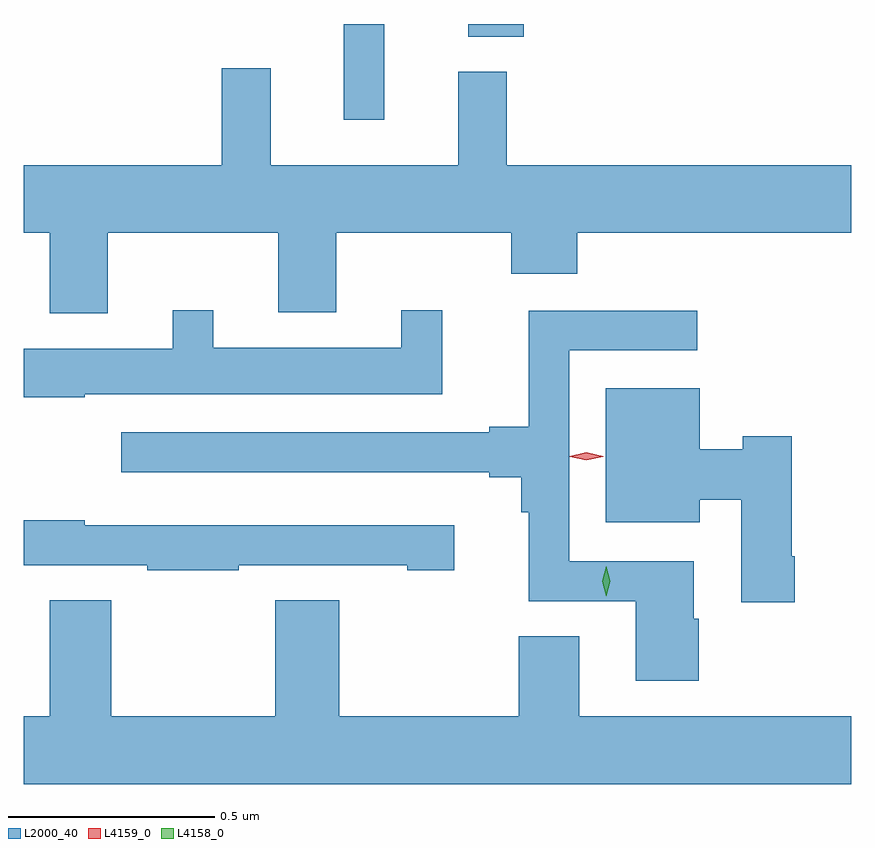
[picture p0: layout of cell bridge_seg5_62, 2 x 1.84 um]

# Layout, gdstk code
import gdstk
lib = gdstk.Library(unit=1e-6, precision=1e-09)
def R(c, l, rs):  # rectangles x0, y0, x1, y1
    for r in rs: c.add(gdstk.rectangle(r[:2], r[2:], *l))
def P(c, l, *ps):  # polygons
    for p in ps: c.add(gdstk.Polygon(p, *l))
L2000_40 = (2000, 40)
L4158_0 = (4158, 0)
L4159_0 = (4159, 0)

bridge_seg5_62 = lib.new_cell('bridge_seg5_62')
R(bridge_seg5_62, L2000_40, [(345.998,841.05,346.095,841.281), (346.298,841.25,346.433,841.281)])
P(bridge_seg5_62, L2000_40, [(345.427,840.776),(345.839,840.776),(345.839,840.584),(345.979,840.584),(345.979,840.776),(346.402,840.776),(346.402,840.677),(346.562,840.677),(346.562,840.776),(347.224,840.776),(347.224,840.94),(346.391,840.94),(346.391,841.165),(346.274,841.165),(346.274,840.94),(345.821,840.94),(345.821,841.174),(345.703,841.174),(345.703,840.94),(345.224,840.94),(345.224,840.776),(345.287,840.776),(345.287,840.582),(345.427,840.582)],
  [(345.371,840.386),(346.235,840.386),(346.235,840.589),(346.136,840.589),(346.136,840.499),(345.682,840.499),(345.682,840.589),(345.584,840.589),(345.584,840.496),(345.224,840.496),(345.224,840.379),(345.371,840.379)],
  [(346.856,839.843),(346.843,839.843),(346.843,839.982),(346.542,839.982),(346.542,840.492),(346.852,840.492),(346.852,840.588),(346.445,840.588),(346.445,840.307),(346.349,840.307),(346.349,840.294),(345.459,840.294),(345.459,840.198),(346.349,840.198),(346.349,840.186),(346.426,840.186),(346.426,840.101),(346.445,840.101),(346.445,839.886),(346.703,839.886),(346.703,839.694),(346.856,839.694)],
  [(347.088,839.995),(347.08,839.995),(347.08,840.284),(346.962,840.284),(346.962,840.253),(346.858,840.253),(346.858,840.4),(346.631,840.4),(346.631,840.077),(346.858,840.077),(346.858,840.131),(346.958,840.131),(346.958,839.883),(347.088,839.883)],
  [(345.743,839.973),(346.151,839.973),(346.151,839.961),(346.264,839.961),(346.264,840.069),(345.371,840.069),(345.371,840.082),(345.224,840.082),(345.224,839.973),(345.523,839.973),(345.523,839.961),(345.743,839.961)],
  [(347.224,839.608),(346.567,839.608),(346.567,839.801),(346.42,839.801),(346.42,839.608),(345.987,839.608),(345.987,839.888),(345.832,839.888),(345.832,839.608),(345.435,839.608),(345.435,839.888),(345.287,839.888),(345.287,839.608),(345.224,839.608),(345.224,839.444),(347.224,839.444)])
P(bridge_seg5_62, L4158_0, [(346.632,839.898),(346.632,839.898),(346.622,839.934),(346.632,839.97),(346.632,839.97),(346.632,839.97),(346.642,839.934),(346.632,839.898)])
P(bridge_seg5_62, L4159_0, [(346.584,840.226),(346.544,840.235),(346.544,840.236),(346.544,840.236),(346.584,840.246),(346.625,840.236),(346.625,840.236),(346.625,840.235)])

lib.write_gds('bridge_seg5_62.gds')
